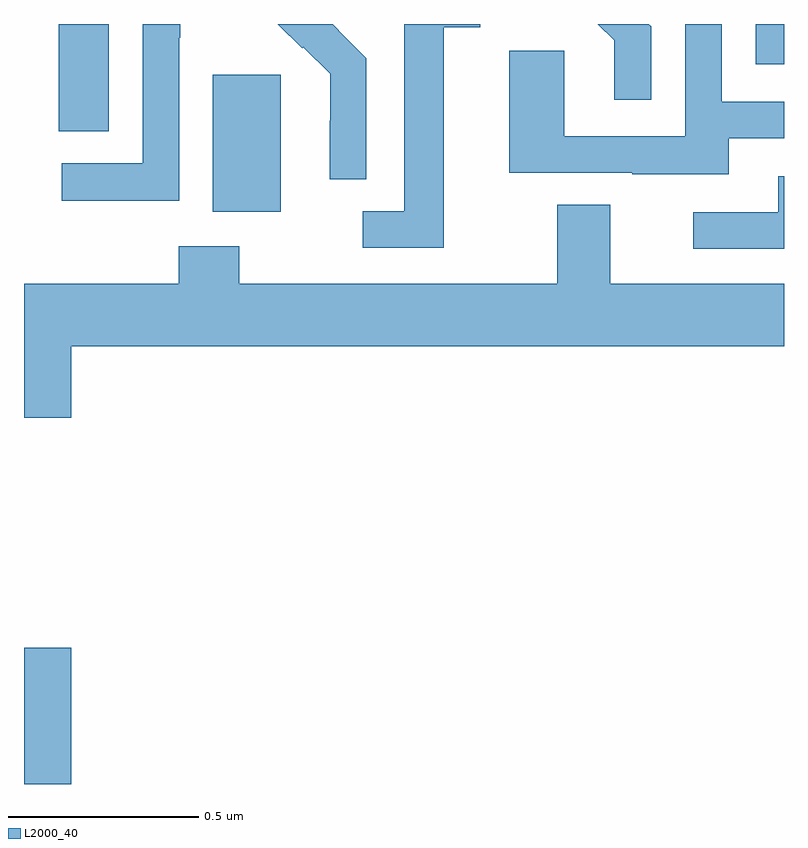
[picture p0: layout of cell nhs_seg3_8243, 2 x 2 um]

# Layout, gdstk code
import gdstk
lib = gdstk.Library(unit=1e-6, precision=1e-09)
def R(c, l, rs):  # rectangles x0, y0, x1, y1
    for r in rs: c.add(gdstk.rectangle(r[:2], r[2:], *l))
def P(c, l, *ps):  # polygons
    for p in ps: c.add(gdstk.Polygon(p, *l))
L2000_40 = (2000, 40)

nhs_seg3_8243 = lib.new_cell('nhs_seg3_8243')
R(nhs_seg3_8243, L2000_40, [(213,730.4,213.124,730.759), (213.497,731.906,213.676,732.267), (213.092,732.118,213.223,732.4), (214.926,732.294,215,732.4)])
P(nhs_seg3_8243, L2000_40, [(214.105,732.392),(214.201,732.392),(214.201,732.4),(214.001,732.4),(214.001,731.907),(213.891,731.907),(213.891,731.811),(214.105,731.811)],
  [(214.65,732.394),(214.644,732.4),(214.51,732.4),(214.553,732.357),(214.553,732.201),(214.65,732.201)],
  [(213.408,732.364),(213.411,732.364),(213.411,732.4),(213.312,732.4),(213.312,732.033),(213.099,732.033),(213.099,731.935),(213.408,731.935)],
  [(213.9,732.31),(213.827,732.383),(213.828,732.384),(213.812,732.4),(213.668,732.4),(213.732,732.336),(213.735,732.339),(213.806,732.269),(213.806,732.146),(213.804,732.146),(213.804,731.992),(213.9,731.992)],
  [(214.855,732.099),(215,732.099),(215,732.195),(214.836,732.195),(214.836,732.4),(214.74,732.4),(214.74,732.105),(214.422,732.105),(214.422,732.329),(214.277,732.329),(214.277,732.009),(214.601,732.009),(214.601,732.005),(214.855,732.005)],
  [(215,732),(214.985,732),(214.985,731.904),(214.761,731.904),(214.761,731.808),(215,731.808)],
  [(213.124,731.552),(215,731.552),(215,731.716),(214.543,731.716),(214.543,731.924),(214.403,731.924),(214.403,731.716),(213.567,731.716),(213.567,731.815),(213.407,731.815),(213.407,731.716),(213,731.716),(213,731.364),(213.124,731.364)])

lib.write_gds('nhs_seg3_8243.gds')
